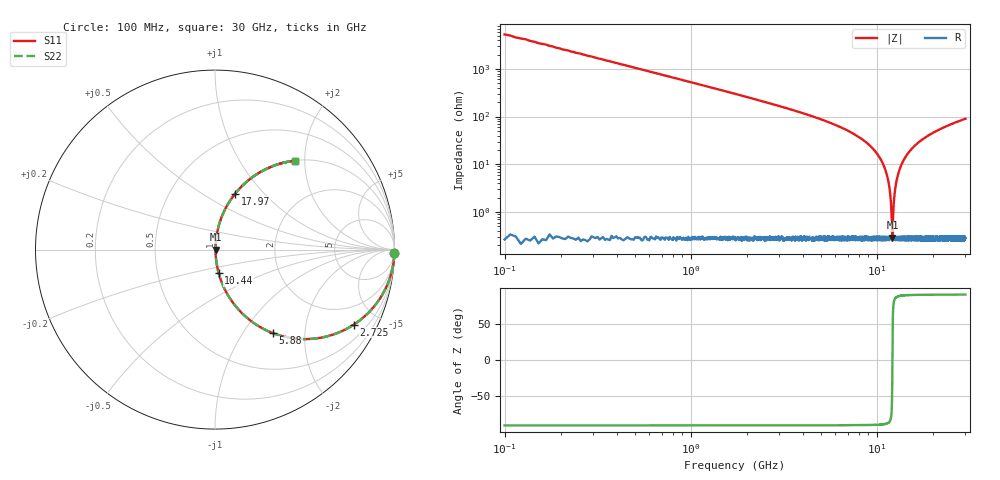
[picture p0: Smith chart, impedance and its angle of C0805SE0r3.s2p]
! AVX Thin Film Operation		Date: April 2012
! Description: Accu-P® Series, Thin Film, SMD, RF Capacitor
! Part Number: 08051J0R3PBTTR
!	100	MHz	-	30.05	GHz
!	Serial	Measurements
#	MHZ	S	MA	R	50
!	S11	S21	S12	S22
!	dB	Phase	dB	Phase	dB	Phase	dB	Phase
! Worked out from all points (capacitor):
!   4010 points, 100 MHz to 30 GHz, reference 50 ohm
!   read as one part in series: C = 300 fF near 249.2 MHz
!   lowest |Z| = 291 mohm at 12.15 GHz (marker M1)
!   series resonance near 12.15 GHz, so ESL is about 570 pH
!   S11 on the Smith chart (normalised r, x): 100 MHz: open; 2.725 GHz: 1.01, -3.70; 5.88 GHz: 1.01, -1.38; 10.44 GHz: 1.01, -0.27; 17.97 GHz: 1.01, +0.70; 30 GHz: 1.01, +1.80
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100  1 -1.1  0.019 88.9  0.019 88.9  1 -1.1
428.162  0.997 -4.6  0.081 85.4  0.081 85.4  0.997 -4.6
883.113  0.986 -9.5  0.165 80.5  0.165 80.5  0.986 -9.5
1636.393  0.954 -17.4  0.3 72.5  0.3 72.5  0.954 -17.4
2725.293  0.879 -28.4  0.475 61.5  0.475 61.5  0.879 -28.4
5089.549  0.651 -49.2  0.757 40.6  0.757 40.6  0.651 -49.2
5880.12  0.567 -55.2  0.821 34.6  0.821 34.6  0.567 -55.2
10071.64  0.162 -79.7  0.984 9.3  0.984 9.3  0.162 -79.7
10437.09  0.132 -81.2  0.988 7.6  0.988 7.6  0.132 -81.2
11585.66  0.042 -83.8  0.996 2.4  0.996 2.4  0.042 -83.8
11846.69  0.022 -81.6  0.997 1.3  0.997 1.3  0.022 -81.6
12055.52  0.0076 -68.0  0.997 0.4  0.997 0.4  0.0076 -68.0
12152.48  0.0028 -2.0  0.997 0.0  0.997 0.0  0.0028 -2.0
12241.98  0.00688 65.7  0.997 -0.4  0.997 -0.4  0.00688 65.7
12517.93  0.026 82.3  0.997 -1.5  0.997 -1.5  0.026 82.3
12972.89  0.057 83.9  0.996 -3.3  0.996 -3.3  0.057 83.9
13800.75  0.11 82.2  0.991 -6.3  0.991 -6.3  0.11 82.2
15053.73  0.185 78.5  0.98 -10.6  0.98 -10.6  0.185 78.5
17969.89  0.33 70.3  0.941 -19.2  0.941 -19.2  0.33 70.3
20035.82  0.413 65.3  0.908 -24.4  0.908 -24.4  0.413 65.3
25017.91  0.565 55.4  0.823 -34.4  0.823 -34.4  0.565 55.4
30000  0.668 47.9  0.742 -41.9  0.742 -41.9  0.668 47.9
